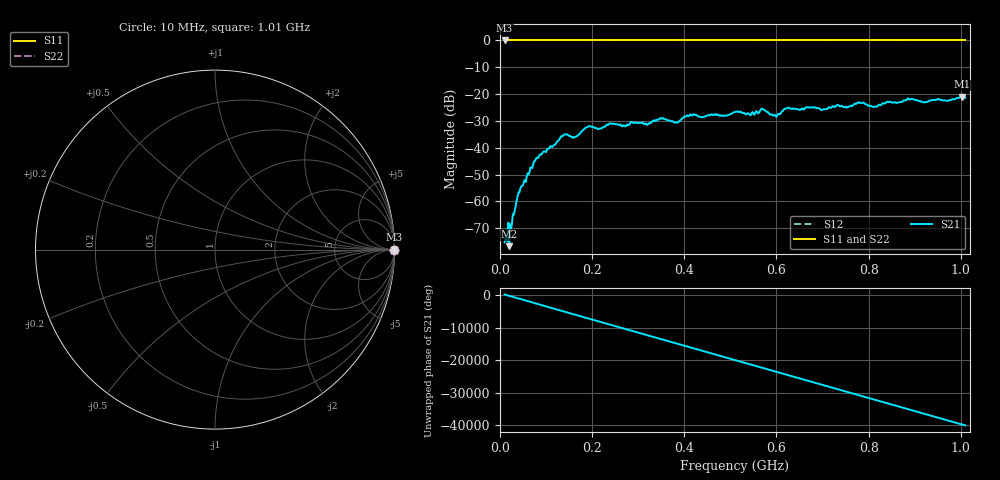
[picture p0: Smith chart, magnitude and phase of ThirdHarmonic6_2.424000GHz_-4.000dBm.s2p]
! 8/17/2025 4:09:06 AM
! C:\ANRITSUVNA\TEMP\TEMP.S2P
! CHANNEL.1
! TR.MEASUREMENT
! RAW.DATA
! RF.CORRECTION.OFF
! AVERAGING.OFF
! IF.BANDWIDTH: 5KHZ
! SWEEPTYPE:  FREQ.SWEEP(Linear)
! Reference Plane Port Info
! PORT:  PORT1  PORT2
! DISTANCE:  0  m  0  m
! TIME:  0  s  0  s
! PHASE.OFFSET:  0  deg.  0  deg.
! LOSS:  0  dB  0  dB
! REF.LOSS:  0  dB  0  dB
! REF.FREQ:  0  Hz  0  Hz
! Power Info
! POWER:  -20  dBm  -20  dBm
! EFF.POWER:  -20  dBm  -20  dBm
! SOURCE.ATTEN:  0  dB  0  dB
! TEST.ATTEN:  0  dB  0  dB
# GHZ S RI R 50.0
! FREQ.GHZ  S11RE  S11IM  S21RE  S21IM  S12RE  S12IM  S22RE  S22IM
!; PortSelection: Port_12
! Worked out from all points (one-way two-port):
!   501 points, 10 MHz to 1.01 GHz, reference 50 ohm
!   highest |S21| = -20.93 dB at 1.002 GHz (marker M1); lowest = -76.7 dB at 20 MHz (marker M2)
!   lowest |S11| = 0.0 dB at 10 MHz (marker M3)
!   |S11| at or under -10 dB: nowhere
!   |S22| runs from 0.0 to 0.0 dB; largest |S21 - S12| = 1.1
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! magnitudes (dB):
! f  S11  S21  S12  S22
! 10 MHz  0.0  -75.3  0.0  0.0
! 20 MHz  0.0  -76.7  0.0  0.0
! 42 MHz  0.0  -56.7  0.0  0.0
! 76 MHz  0.0  -45.0  0.0  0.0
! 136 MHz  0.0  -35.7  0.0  0.0
! 162 MHz  0.0  -36.1  0.0  0.0
! 178 MHz  0.0  -33.7  0.0  0.0
! 192 MHz  0.0  -32.0  0.0  0.0
! 322 MHz  0.0  -31.1  0.0  0.0
! 344 MHz  0.0  -29.5  0.0  0.0
! 382 MHz  0.0  -30.5  0.0  0.0
! 410 MHz  0.0  -28.2  0.0  0.0
! 510 MHz  0.0  -26.7  0.0  0.0
! 570 MHz  0.0  -25.5  0.0  0.0
! 596 MHz  0.0  -27.7  0.0  0.0
! 622 MHz  0.0  -25.3  0.0  0.0
! 678 MHz  0.0  -24.9  0.0  0.0
! 780 MHz  0.0  -23.2  0.0  0.0
! 814 MHz  0.0  -24.7  0.0  0.0
! 844 MHz  0.0  -23.0  0.0  0.0
! 1.002 GHz  0.0  -20.9  0.0  0.0
! 1.01 GHz  0.0  -21.3  0.0  0.0
